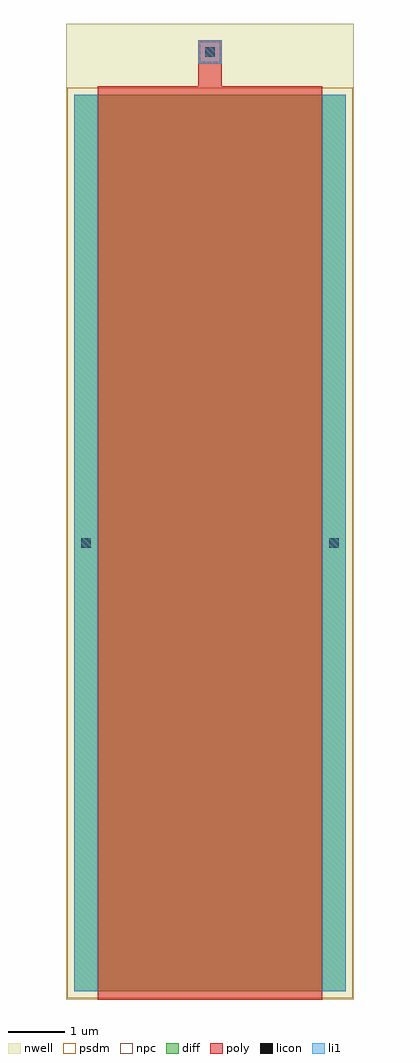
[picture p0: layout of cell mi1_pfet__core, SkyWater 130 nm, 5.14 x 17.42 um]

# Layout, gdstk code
import gdstk
lib = gdstk.Library(unit=1e-6, precision=1e-09)
def R(c, l, rs):  # rectangles x0, y0, x1, y1
    for r in rs: c.add(gdstk.rectangle(r[:2], r[2:], *l))
nwell = (64, 20)
diff = (65, 20)
poly = (66, 20)
licon = (66, 44)
li1 = (67, 20)
psdm = (94, 20)
npc = (95, 20)

mi1_pfet__core = lib.new_cell('mi1_pfet__core')
R(mi1_pfet__core, nwell, [(-0.15,-0.15,4.99,17.27)])
R(mi1_pfet__core, diff, [(0,0,4.84,16)])
R(mi1_pfet__core, poly, [(0.42,-0.15,4.42,16), (0.42,16,4.42,16.15), (0.42,16,4.42,16.15), (2.21,16.15,2.63,16.97)])
R(mi1_pfet__core, licon, [(0.125,7.915,0.295,8.085), (4.545,7.915,4.715,8.085), (2.335,16.675,2.505,16.845)])
R(mi1_pfet__core, li1, [(0,0,0.42,16), (4.42,0,4.84,16), (2.21,16.55,2.63,16.97)])
R(mi1_pfet__core, psdm, [(-0.125,-0.125,4.965,16.125)])
R(mi1_pfet__core, npc, [(2.235,16.575,2.605,16.945)])

lib.write_gds('mi1_pfet__core.gds')
